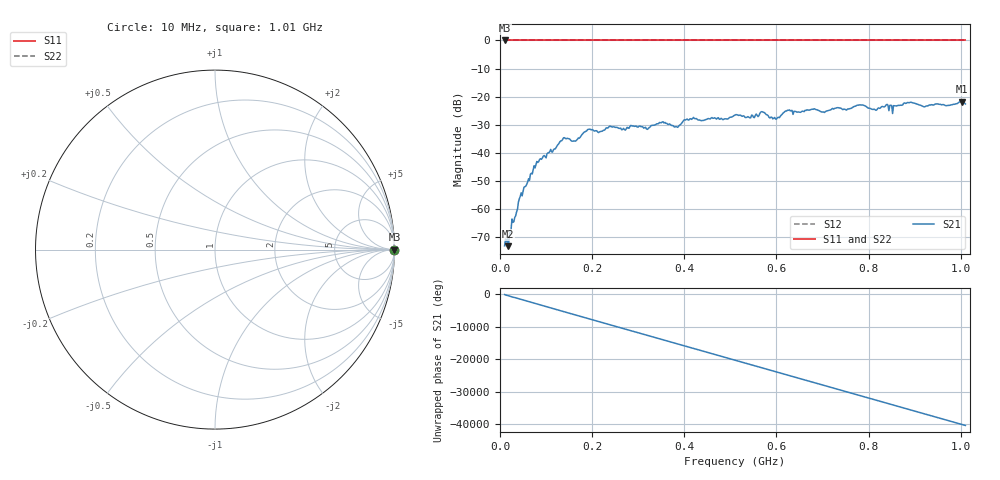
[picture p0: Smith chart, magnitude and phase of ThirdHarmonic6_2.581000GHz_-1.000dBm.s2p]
! 8/17/2025 5:28:04 AM
! C:\ANRITSUVNA\TEMP\TEMP.S2P
! CHANNEL.1
! TR.MEASUREMENT
! RAW.DATA
! RF.CORRECTION.OFF
! AVERAGING.OFF
! IF.BANDWIDTH: 5KHZ
! SWEEPTYPE:  FREQ.SWEEP(Linear)
! Reference Plane Port Info
! PORT:  PORT1  PORT2
! DISTANCE:  0  m  0  m
! TIME:  0  s  0  s
! PHASE.OFFSET:  0  deg.  0  deg.
! LOSS:  0  dB  0  dB
! REF.LOSS:  0  dB  0  dB
! REF.FREQ:  0  Hz  0  Hz
! Power Info
! POWER:  -20  dBm  -20  dBm
! EFF.POWER:  -20  dBm  -20  dBm
! SOURCE.ATTEN:  0  dB  0  dB
! TEST.ATTEN:  0  dB  0  dB
# GHZ S RI R 50.0
! FREQ.GHZ  S11RE  S11IM  S21RE  S21IM  S12RE  S12IM  S22RE  S22IM
!; PortSelection: Port_12
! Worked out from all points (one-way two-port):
!   501 points, 10 MHz to 1.01 GHz, reference 50 ohm
!   highest |S21| = -21.73 dB at 1.002 GHz (marker M1); lowest = -73.2 dB at 18 MHz (marker M2)
!   lowest |S11| = 0.0 dB at 10 MHz (marker M3)
!   |S11| at or under -10 dB: nowhere
!   |S22| runs from 0.0 to 0.0 dB; largest |S21 - S12| = 1.1
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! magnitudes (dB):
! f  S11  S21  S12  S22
! 10 MHz  0.0  -73.1  0.0  0.0
! 18 MHz  0.0  -73.2  0.0  0.0
! 44 MHz  0.0  -55.4  0.0  0.0
! 78 MHz  0.0  -44.2  0.0  0.0
! 136 MHz  0.0  -35.2  0.0  0.0
! 162 MHz  0.0  -35.8  0.0  0.0
! 178 MHz  0.0  -33.5  0.0  0.0
! 194 MHz  0.0  -31.6  0.0  0.0
! 322 MHz  0.0  -31.3  0.0  0.0
! 344 MHz  0.0  -29.6  0.0  0.0
! 382 MHz  0.0  -30.7  0.0  0.0
! 416 MHz  0.0  -28.1  0.0  0.0
! 510 MHz  0.0  -26.5  0.0  0.0
! 540 MHz  0.0  -27.3  0.0  0.0
! 570 MHz  0.0  -25.4  0.0  0.0
! 596 MHz  0.0  -27.4  0.0  0.0
! 624 MHz  0.0  -24.8  0.0  0.0
! 678 MHz  0.0  -24.5  0.0  0.0
! 702 MHz  0.0  -25.5  0.0  0.0
! 844 MHz  0.0  -25.0  0.0  0.0
! 1.002 GHz  0.0  -21.7  0.0  0.0
! 1.01 GHz  0.0  -22.6  0.0  0.0
